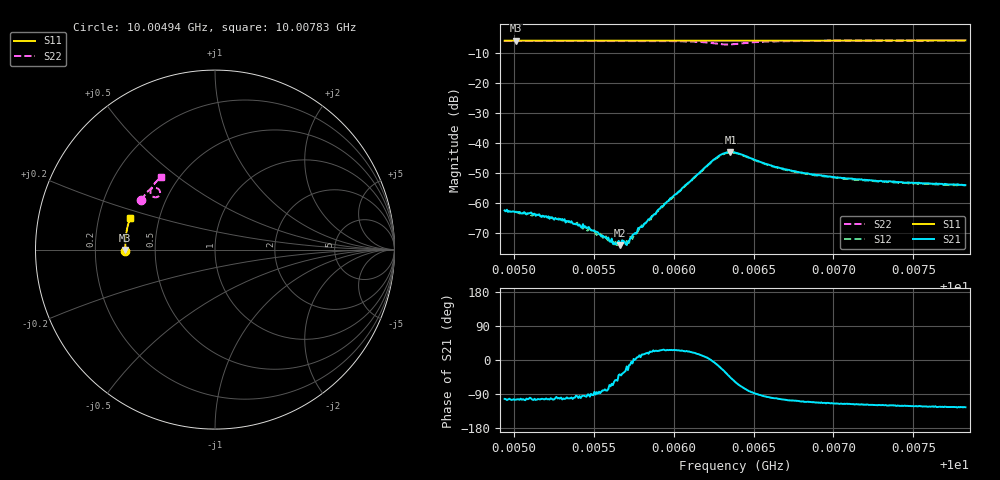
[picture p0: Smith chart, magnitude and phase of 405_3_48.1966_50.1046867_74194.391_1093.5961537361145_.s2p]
#  HZ  S  RI  R  50.00
! Rohde & Schwarz Vector Network Analyzer
! Rohde-Schwarz,ZNB20-2Port,1311601062101988,3.16
! Created: UTC 3/20/2024, 11:54:12 AM
! freq[Hz]  re:S11  im:S11  re:S21  im:S21  re:S12  im:S12  re:S22  im:S22
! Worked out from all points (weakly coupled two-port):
!   401 points, 10.00494 GHz to 10.00783 GHz, reference 50 ohm
!   highest |S21| = -42.99 dB at 10.00635 GHz (marker M1); lowest = -73.9 dB at 10.00566 GHz (marker M2)
!   lowest |S11| = -6.0 dB at 10.00501 GHz (marker M3), VSWR 3.00, Z = 16.7 - j0.0591 ohm
!   |S11| at or under -10 dB: nowhere
!   |S22| runs from -7.3 to -6.0 dB; largest |S21 - S12| = 0.00042
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1.0004941e10  -0.4995 -0.00595  -0.000166 -0.00074  -0.000141 -0.000722  -0.4114 0.2739
1.0005013e10  -0.4995 -0.00133  -0.000177 -0.00069  -0.000124 -0.000712  -0.4088 0.2783
1.0005114e10  -0.4997 0.00524  -0.000164 -0.000641  -0.000122 -0.000607  -0.4053 0.2843
1.0005287e10  -0.4999 0.0165  -0.000113 -0.000537  -7.2e-05 -0.000537  -0.3983 0.2946
1.0005424e10  -0.4999 0.0253  -3.78e-05 -0.00039  -2.39e-05 -0.000405  -0.3926 0.3025
1.000546e10  -0.4999 0.0276  -8.2e-06 -0.000391  -2.14e-05 -0.000348  -0.3909 0.3048
1.000554e10  -0.4997 0.0327  1.28e-05 -0.000297  3.1e-05 -0.000304  -0.3872 0.3096
1.0005576e10  -0.4996 0.0352  4.36e-05 -0.000259  7.7e-05 -0.00027  -0.3854 0.3119
1.0005634e10  -0.4995 0.0389  0.000125 -0.000168  0.000153 -0.000181  -0.3826 0.3153
1.0005662e10  -0.4992 0.0407  0.000159 -0.000123  0.00015 -0.000155  -0.3811 0.3172
1.0005684e10  -0.4992 0.0422  0.000196 -0.000133  0.000199 -9.97e-05  -0.3799 0.3186
1.0005713e10  -0.4991 0.044  0.000206 -0.000104  0.000219 -5.37e-05  -0.3782 0.3204
1.0005785e10  -0.4988 0.0487  0.000376 8.21e-05  0.00036 0.000103  -0.374 0.3249
1.0005908e10  -0.4981 0.0566  0.000725 0.000329  0.000688 0.000365  -0.3651 0.3329
1.0006254e10  -0.4953 0.0788  0.00532 -0.000593  0.00522 -0.000296  -0.3096 0.331
1.0006304e10  -0.4949 0.0819  0.00597 -0.00277  0.00597 -0.0024  -0.3062 0.3113
1.0006355e10  -0.4944 0.0848  0.0049 -0.00512  0.00505 -0.00473  -0.3192 0.2939
1.0006384e10  -0.4942 0.0866  0.00372 -0.00585  0.00397 -0.00553  -0.3306 0.2909
1.0006629e10  -0.4922 0.1024  -0.000766 -0.00399  -0.000582 -0.00397  -0.3588 0.3299
1.0006867e10  -0.4894 0.1175  -0.00109 -0.00279  -0.000925 -0.00281  -0.3483 0.3529
1.000735e10  -0.4823 0.1478  -0.00115 -0.00201  -0.00103 -0.002  -0.3241 0.3817
1.0007826e10  -0.4733 0.1772  -0.00113 -0.00164  -0.00106 -0.00167  -0.2998 0.4041
